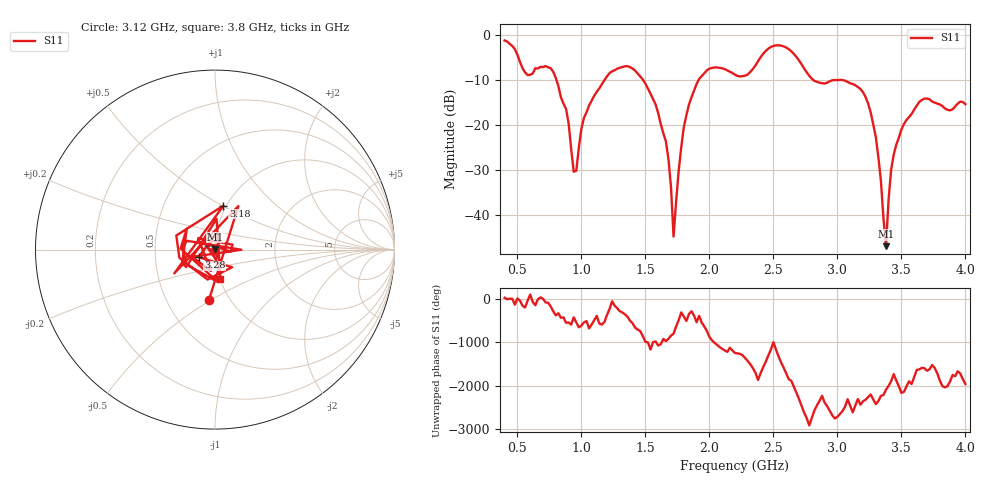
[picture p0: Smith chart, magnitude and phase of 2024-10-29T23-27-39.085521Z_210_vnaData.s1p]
!Created with skrf (http://scikit-rf.org).
# Hz S RI R 50.0
!freq ReS11 ImS11
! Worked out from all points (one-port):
!   181 points, 400 MHz to 4 GHz, reference 50 ohm
!   lowest |S11| = -47.1 dB at 3.38 GHz (marker M1), VSWR 1.01, Z = 50.2 + j0.412 ohm
!   |S11| at or under -10 dB: 804.6 MHz to 1.182 GHz (377.4 MHz wide, 38 % of centre); 1.481 GHz to 1.917 GHz (436 MHz wide, 25.7 % of centre); 2.81 GHz to end of sweep
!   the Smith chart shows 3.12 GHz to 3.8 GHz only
!   S11 on the Smith chart (normalised r, x): 3.12 GHz: 0.80, -0.49; 3.18 GHz: 0.97, +0.51; 3.28 GHz: 0.83, -0.07; 3.8 GHz: 1.00, -0.34
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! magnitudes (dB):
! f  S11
! 400 MHz  -1.2
! 580 MHz  -9.0
! 760 MHz  -7.4
! 860 MHz  -15.3
! 960 MHz  -30.2
! 1 GHz  -20.9
! 1.06 GHz  -15.7
! 1.3 GHz  -7.3
! 1.58 GHz  -15.5
! 1.68 GHz  -27.7
! 1.72 GHz  -44.9
! 1.76 GHz  -30.3
! 1.82 GHz  -17.9
! 1.92 GHz  -9.8
! 2.2 GHz  -8.9
! 2.66 GHz  -4.2
! 2.82 GHz  -10.2
! 3.1 GHz  -10.8
! 3.12 GHz  -11.0
! 3.18 GHz  -12.1
! 3.28 GHz  -19.9
! 3.34 GHz  -32.5
! 3.38 GHz  -47.1
! 3.4 GHz  -36.6
! 3.44 GHz  -26.7
! 3.56 GHz  -18.3
! 3.8 GHz  -15.5
! 4 GHz  -15.4
